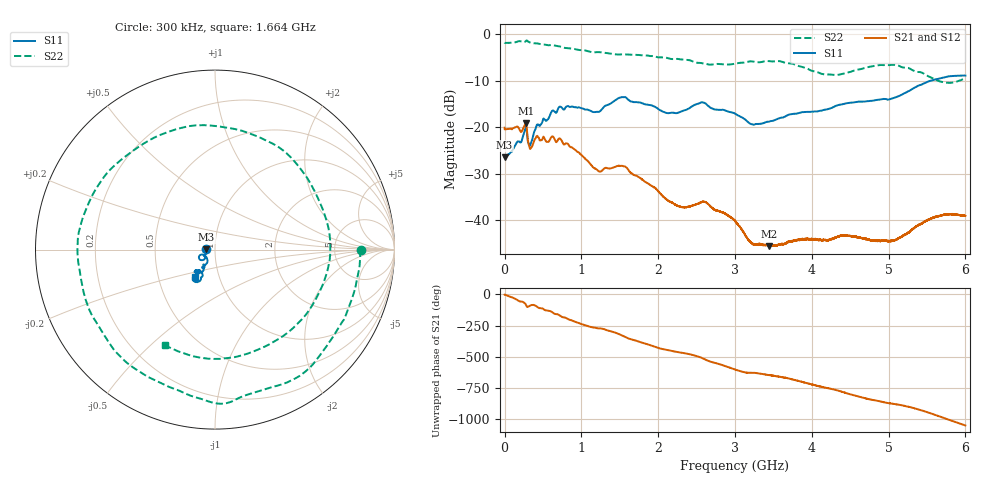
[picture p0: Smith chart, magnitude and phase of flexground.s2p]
!  8/6/2020  02:29:27
! Ref Plane: 0.000 mm
# MHZ S MA R  50
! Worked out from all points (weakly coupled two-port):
!   10001 points, 300 kHz to 6 GHz, reference 50 ohm
!   highest |S21| = -19.06 dB at 276.3 MHz (marker M1); lowest = -45.6 dB at 3.448 GHz (marker M2)
!   lowest |S11| = -26.4 dB at 300 kHz (marker M3), VSWR 1.10, Z = 45.5 + j0.0977 ohm
!   |S11| at or under -10 dB: start of sweep to 5.54 GHz
!   |S22| runs from -10.4 to -1.3 dB; largest |S21 - S12| = 0.0023
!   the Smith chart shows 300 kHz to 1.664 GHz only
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0.3  0.04761 178.7  0.09882 -1.1  0.09654 -0.8  0.8152 -0.3
276.2862  0.1014 -147.4  0.1114 -80.7  0.1116 -80.8  0.8444 -82.2
615.2693  0.1489 -121.3  0.07927 -139.7  0.0793 -139.7  0.7662 178.2
820.459  0.1691 -131.2  0.06662 165.0  0.06672 165.0  0.7097 118.7
1000.45  0.1605 -133.0  0.05031 123.6  0.05026 123.6  0.6733 69.3
1259.637  0.1538 -116.9  0.03366 87.8  0.03368 87.7  0.6422 -3.5
1539.223  0.2116 -122.0  0.03834 29.5  0.0383 29.4  0.6086 -83.5
1793.01  0.1811 -124.8  0.02733 -26.2  0.0274 -26.3  0.5952 -152.4
2000.6  0.1573 -124.6  0.02051 -67.6  0.02053 -67.6  0.5658 152.4
2259.787  0.1436 -105.8  0.0142 -101.2  0.01426 -101.2  0.5435 83.2
2535.773  0.1812 -99.6  0.01529 -139.8  0.01524 -139.7  0.4935 5.5
2781.761  0.154 -100.8  0.01259 165.8  0.01263 165.6  0.4802 -67.5
3000.15  0.1402 -97.8  0.009834 119.4  0.009817 119.7  0.4833 -131.4
3208.94  0.1082 -86.7  0.005719 93.3  0.005718 93.4  0.5129 172.6
3447.728  0.1154 -63.1  0.005253 75.2  0.005296 74.9  0.5142 113.8
3761.512  0.1394 -47.5  0.005995 38.9  0.006005 38.5  0.4791 36.7
4000.3  0.147 -40.5  0.006224 0.5  0.006266 0.9  0.4057 -28.6
4231.888  0.1587 -28.9  0.006172 -31.8  0.006137 -32.7  0.3699 -102.1
4494.675  0.1832 -23.4  0.006757 -77.4  0.006816 -77.4  0.3919 174.7
5000.45  0.1988 -9.4  0.005954 -149.1  0.005915 -149.5  0.4666 47.0
5507.425  0.3088 2.1  0.01001 137.7  0.01008 137.4  0.3575 -77.5
6000  0.3603 -8.5  0.01111 32.2  0.01114 32.4  0.3387 119.8
